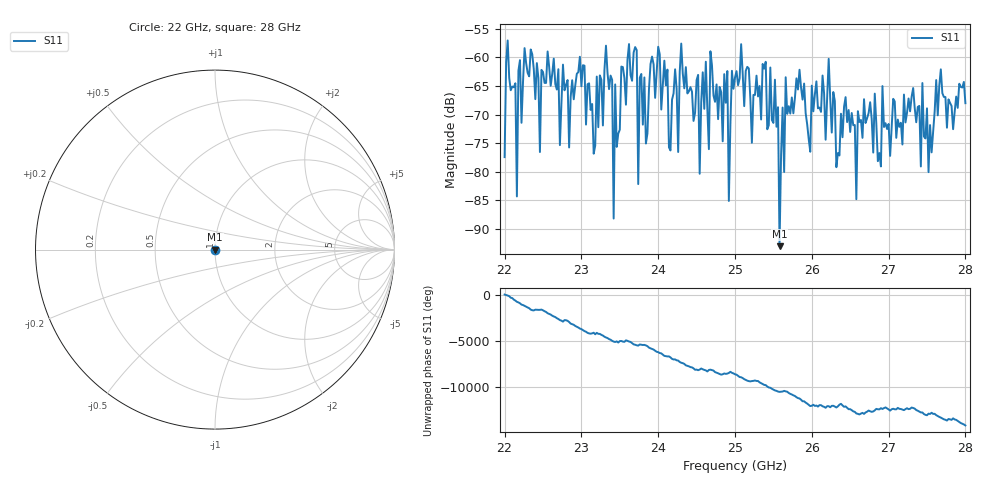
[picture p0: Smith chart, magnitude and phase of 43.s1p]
#  HZ  S  RI  R  50.00
! Rohde & Schwarz ZVA40 4Ports - Version 3.90 - 1145.1110k42 SN: 100403
! Date: 2023-10-04 07:56:38
! Measurement: S12
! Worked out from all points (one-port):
!   301 points, 22 GHz to 28 GHz, reference 50 ohm
!   lowest |S11| = -93.0 dB at 25.58 GHz (marker M1), VSWR 1.00, Z = 50 - j0.0018 ohm
!   |S11| at or under -10 dB: start of sweep to end of sweep
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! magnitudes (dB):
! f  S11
! 22 GHz  -77.4
! 22.04 GHz  -57.1
! 22.16 GHz  -84.3
! 22.18 GHz  -62.3
! 22.26 GHz  -58.4
! 22.46 GHz  -76.6
! 22.76 GHz  -61.3
! 23.5 GHz  -72.7
! 23.72 GHz  -58.7
! 23.74 GHz  -82.2
! 23.76 GHz  -63.6
! 24 GHz  -58.2
! 24.26 GHz  -76.6
! 24.3 GHz  -57.6
! 24.52 GHz  -63.1
! 24.54 GHz  -80.3
! 24.62 GHz  -60.8
! 24.66 GHz  -76.0
! 24.68 GHz  -59.0
! 24.9 GHz  -62.4
! 24.92 GHz  -85.1
! 25 GHz  -63.5
! 25.46 GHz  -61.8
! 25.58 GHz  -93.0
! 25.76 GHz  -69.8
! 26.5 GHz  -73.0
! 27.26 GHz  -67.2
! 28 GHz  -68.0
